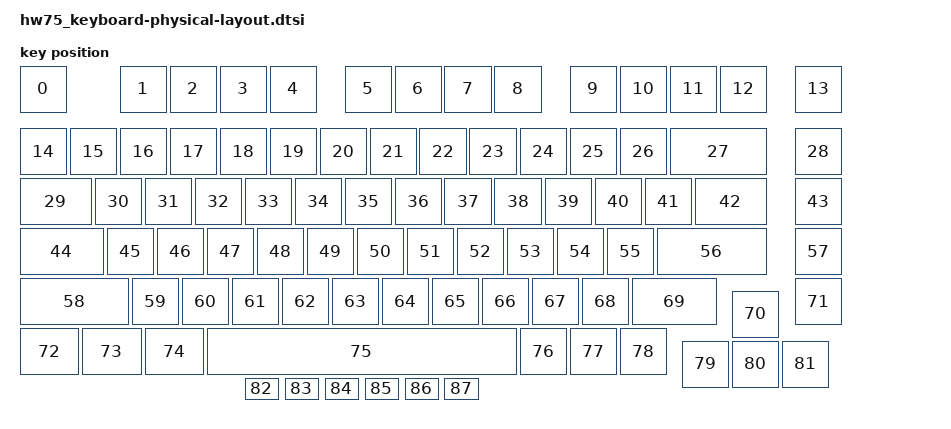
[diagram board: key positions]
/*
 * Copyright (c) 2025 XiNGRZ
 * SPDX-License-Identifier: MIT
 */

#include <physical_layouts.dtsi>

#include "hw75_keyboard-transform.dtsi"

/ {
	chosen {
		zmk,physical-layout = &default_layout;
	};

	default_layout: physical-layout {
		compatible = "zmk,physical-layout";
		display-name = "Default Layout";
		transform = <&default_transform>;
		kscan = <&kscan>;
		keys = <&key_physical_attrs 100 100    0   0 0 0 0>, /* Esc */
		       <&key_physical_attrs 100 100  200   0 0 0 0>, /* F1 */
		       <&key_physical_attrs 100 100  300   0 0 0 0>,
		       <&key_physical_attrs 100 100  400   0 0 0 0>,
		       <&key_physical_attrs 100 100  500   0 0 0 0>,
		       <&key_physical_attrs 100 100  650   0 0 0 0>, /* F5 */
		       <&key_physical_attrs 100 100  750   0 0 0 0>,
		       <&key_physical_attrs 100 100  850   0 0 0 0>,
		       <&key_physical_attrs 100 100  950   0 0 0 0>,
		       <&key_physical_attrs 100 100 1100   0 0 0 0>, /* F9 */
		       <&key_physical_attrs 100 100 1200   0 0 0 0>,
		       <&key_physical_attrs 100 100 1300   0 0 0 0>,
		       <&key_physical_attrs 100 100 1400   0 0 0 0>,
		       <&key_physical_attrs 100 100 1550   0 0 0 0>, /* Break */
		       <&key_physical_attrs 100 100    0 125 0 0 0>, /* ~ */
		       <&key_physical_attrs 100 100  100 125 0 0 0>,
		       <&key_physical_attrs 100 100  200 125 0 0 0>,
		       <&key_physical_attrs 100 100  300 125 0 0 0>,
		       <&key_physical_attrs 100 100  400 125 0 0 0>,
		       <&key_physical_attrs 100 100  500 125 0 0 0>,
		       <&key_physical_attrs 100 100  600 125 0 0 0>,
		       <&key_physical_attrs 100 100  700 125 0 0 0>,
		       <&key_physical_attrs 100 100  800 125 0 0 0>,
		       <&key_physical_attrs 100 100  900 125 0 0 0>,
		       <&key_physical_attrs 100 100 1000 125 0 0 0>,
		       <&key_physical_attrs 100 100 1100 125 0 0 0>,
		       <&key_physical_attrs 100 100 1200 125 0 0 0>,
		       <&key_physical_attrs 200 100 1300 125 0 0 0>, /* Backspace */
		       <&key_physical_attrs 100 100 1550 125 0 0 0>, /* Volume Up */
		       <&key_physical_attrs 150 100    0 225 0 0 0>, /* Tab */
		       <&key_physical_attrs 100 100  150 225 0 0 0>,
		       <&key_physical_attrs 100 100  250 225 0 0 0>,
		       <&key_physical_attrs 100 100  350 225 0 0 0>,
		       <&key_physical_attrs 100 100  450 225 0 0 0>,
		       <&key_physical_attrs 100 100  550 225 0 0 0>,
		       <&key_physical_attrs 100 100  650 225 0 0 0>,
		       <&key_physical_attrs 100 100  750 225 0 0 0>,
		       <&key_physical_attrs 100 100  850 225 0 0 0>,
		       <&key_physical_attrs 100 100  950 225 0 0 0>,
		       <&key_physical_attrs 100 100 1050 225 0 0 0>,
		       <&key_physical_attrs 100 100 1150 225 0 0 0>,
		       <&key_physical_attrs 100 100 1250 225 0 0 0>,
		       <&key_physical_attrs 150 100 1350 225 0 0 0>, /* Backslash */
		       <&key_physical_attrs 100 100 1550 225 0 0 0>, /* Volume Down */
		       <&key_physical_attrs 175 100    0 325 0 0 0>, /* Caps Lock */
		       <&key_physical_attrs 100 100  175 325 0 0 0>,
		       <&key_physical_attrs 100 100  275 325 0 0 0>,
		       <&key_physical_attrs 100 100  375 325 0 0 0>,
		       <&key_physical_attrs 100 100  475 325 0 0 0>,
		       <&key_physical_attrs 100 100  575 325 0 0 0>,
		       <&key_physical_attrs 100 100  675 325 0 0 0>,
		       <&key_physical_attrs 100 100  775 325 0 0 0>,
		       <&key_physical_attrs 100 100  875 325 0 0 0>,
		       <&key_physical_attrs 100 100  975 325 0 0 0>,
		       <&key_physical_attrs 100 100 1075 325 0 0 0>,
		       <&key_physical_attrs 100 100 1175 325 0 0 0>,
		       <&key_physical_attrs 225 100 1275 325 0 0 0>, /* Enter */
		       <&key_physical_attrs 100 100 1550 325 0 0 0>, /* Brightness Increase */
		       <&key_physical_attrs 225 100    0 425 0 0 0>, /* Left Shift */
		       <&key_physical_attrs 100 100  225 425 0 0 0>,
		       <&key_physical_attrs 100 100  325 425 0 0 0>,
		       <&key_physical_attrs 100 100  425 425 0 0 0>,
		       <&key_physical_attrs 100 100  525 425 0 0 0>,
		       <&key_physical_attrs 100 100  625 425 0 0 0>,
		       <&key_physical_attrs 100 100  725 425 0 0 0>,
		       <&key_physical_attrs 100 100  825 425 0 0 0>,
		       <&key_physical_attrs 100 100  925 425 0 0 0>,
		       <&key_physical_attrs 100 100 1025 425 0 0 0>,
		       <&key_physical_attrs 100 100 1125 425 0 0 0>,
		       <&key_physical_attrs 175 100 1225 425 0 0 0>, /* Right Shift */
		       <&key_physical_attrs 100 100 1425 450 0 0 0>, /* Up Arrow */
		       <&key_physical_attrs 100 100 1550 425 0 0 0>, /* Brightness Decrease */
		       <&key_physical_attrs 125 100    0 525 0 0 0>, /* Left Ctrl */
		       <&key_physical_attrs 125 100  125 525 0 0 0>,
		       <&key_physical_attrs 125 100  250 525 0 0 0>,
		       <&key_physical_attrs 625 100  375 525 0 0 0>, /* Space */
		       <&key_physical_attrs 100 100 1000 525 0 0 0>,
		       <&key_physical_attrs 100 100 1100 525 0 0 0>,
		       <&key_physical_attrs 100 100 1200 525 0 0 0>,
		       <&key_physical_attrs 100 100 1325 550 0 0 0>, /* Left Arrow */
		       <&key_physical_attrs 100 100 1425 550 0 0 0>, /* Down Arrow */
		       <&key_physical_attrs 100 100 1525 550 0 0 0>, /* Right Arrow */
		       <&key_physical_attrs  75  50  450 625 0 0 0>, /* Touch bar */
		       <&key_physical_attrs  75  50  530 625 0 0 0>,
		       <&key_physical_attrs  75  50  610 625 0 0 0>,
		       <&key_physical_attrs  75  50  690 625 0 0 0>,
		       <&key_physical_attrs  75  50  770 625 0 0 0>,
		       <&key_physical_attrs  75  50  850 625 0 0 0>;
	};
};
